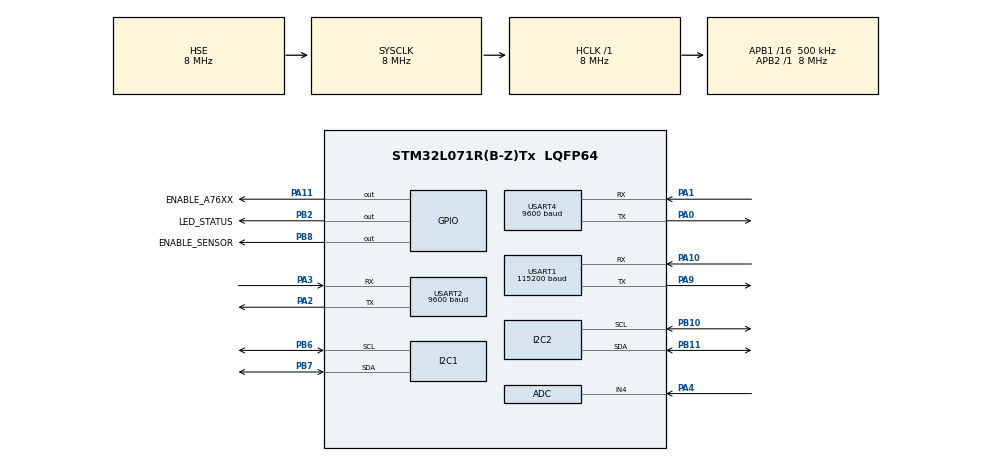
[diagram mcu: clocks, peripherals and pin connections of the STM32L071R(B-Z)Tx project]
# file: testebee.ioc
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ADC.ClockPrescaler=ADC_CLOCK_SYNC_PCLK_DIV4
ADC.ContinuousConvMode=ENABLE
I2C1.Timing=0x00000000
I2C2.Timing=0x00000000
Mcu.Family=STM32L0
Mcu.Name=STM32L071R(B-Z)Tx
Mcu.Package=LQFP64
NVIC.TIM6_IRQn=true\:2\:0\:true\:false\:true\:true\:true\:true
NVIC.USART1_IRQn=true\:1\:0\:true\:false\:true\:true\:true\:true
NVIC.USART2_IRQn=true\:1\:0\:true\:false\:true\:true\:true\:true
NVIC.USART4_5_IRQn=true\:1\:0\:true\:false\:true\:true\:true\:true
PA0.Mode=Asynchronous
PA0.Signal=USART4_TX
PA1.Mode=Asynchronous
PA1.Signal=USART4_RX
PA10.Mode=Asynchronous
PA10.Signal=USART1_RX
PA11.GPIO_Label=ENABLE_A76XX
PA11.Signal=GPIO_Output
PA13.Mode=Serial_Wire
PA13.Signal=SYS_SWDIO
PA14.Mode=Serial_Wire
PA14.Signal=SYS_SWCLK
PA2.Mode=Asynchronous
PA2.Signal=USART2_TX
PA3.Mode=Asynchronous
PA3.Signal=USART2_RX
PA4.Mode=IN4
PA4.Signal=ADC_IN4
PA9.Mode=Asynchronous
PA9.Signal=USART1_TX
PB10.Mode=I2C
PB10.Signal=I2C2_SCL
PB11.Mode=I2C
PB11.Signal=I2C2_SDA
PB2.GPIO_Label=LED_STATUS
PB2.Signal=GPIO_Output
PB6.Mode=I2C
PB6.Signal=I2C1_SCL
PB7.Mode=I2C
PB7.Signal=I2C1_SDA
PB8.GPIO_Label=ENABLE_SENSOR
PB8.Signal=GPIO_Output
PH0-OSC_IN.Mode=HSE-External-Oscillator
PH0-OSC_IN.Signal=RCC_OSC_IN
PH1-OSC_OUT.Mode=HSE-External-Oscillator
PH1-OSC_OUT.Signal=RCC_OSC_OUT
ProjectManager.HeapSize=0x200
ProjectManager.StackSize=0x400
ProjectManager.TargetToolchain=STM32CubeIDE
RCC.AHBFreq_Value=8000000
RCC.APB1CLKDivider=RCC_HCLK_DIV16
RCC.APB1Freq_Value=500000
RCC.APB1TimFreq_Value=1000000
RCC.APB2Freq_Value=8000000
RCC.APB2TimFreq_Value=8000000
RCC.HCLKFreq_Value=8000000
RCC.HSE_VALUE=8000000
RCC.HSI16_VALUE=16000000
RCC.HSI_VALUE=16000000
RCC.LSE_VALUE=32768
RCC.MSI_VALUE=2097000
RCC.PLLMUL=RCC_PLLMUL_8
RCC.PLLSourceVirtual=RCC_PLLSOURCE_HSE
RCC.SYSCLKFreq_VALUE=8000000
RCC.SYSCLKSource=RCC_SYSCLKSOURCE_HSE
RCC.VCOOutputFreq_Value=64000000
TIM6.Period=11999
TIM6.Prescaler=39000
USART1.BaudRate=115200
USART1.VirtualMode-Asynchronous=VM_ASYNC
USART2.BaudRate=9600
USART2.VirtualMode-Asynchronous=VM_ASYNC
USART4.BaudRate=9600
USART4.VirtualMode-Asynchronous=VM_ASYNC
VP_TIM6_VS_ClockSourceINT.Mode=Enable_Timer
board=custom

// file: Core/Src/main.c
/* USER CODE BEGIN Header */
/**
 ******************************************************************************
 * @file           : main.c
 * @brief          : Main program body
 ******************************************************************************
 * @attention
 *
 * Copyright (c) 2023 STMicroelectronics.
 * All rights reserved.
 *
 * This software is licensed under terms that can be found in the LICENSE file
 * in the root directory of this software component.
 * If no LICENSE file comes with this software, it is provided AS-IS.
 *
 ******************************************************************************
 */
/* USER CODE END Header */
#include "main.h"

/* USER CODE BEGIN Includes */
#include "stdbool.h"
#include "stdio.h"
#include "stdlib.h"
#include "string.h"
#include "config.h"
#include "modbus_crc.h"
#include "sht3x.h"
#include "cJSON.h"
#include <math.h>

/* USER CODE END Includes */

/* USER CODE BEGIN PD */
#define DS1307_I2C_ADDR 0x23
#define DS1307_TIMEOUT 300
/* USER CODE END PD */

/* USER CODE BEGIN PM */
#define BH1750_ADDRESS 0x23 << 1 // Shifted left by 1 for HAL library
#define BH1750_POWER_ON 0x01
#define BH1750_RESET 0x07
#define BH1750_CONTINUOUS_HIGH_RES_MODE 0x10

/* USER CODE END PM */

ADC_HandleTypeDef hadc;

I2C_HandleTypeDef hi2c1;
I2C_HandleTypeDef hi2c2;

TIM_HandleTypeDef htim6;

UART_HandleTypeDef huart1;
UART_HandleTypeDef huart2;
UART_HandleTypeDef huart4;

/* USER CODE BEGIN PV */
char rxBuffer[50];
int previousTick = 0;
int isConnectSimcomA76xx = 0;
int isConnectMQTT = 0;
int isSleepMode = 0;
int isSendDataToServer;
int timeOutConnectA76XX = 40000;
float SignalStrength;
int isPBDONE = 0;
float airT, airH, soilT, soilMC, soilEC;
float temperature, humidity;

float SignalStrength=0;
// BatteryLevel
uint32_t adcValue=0;
float  BatteryLevel=0;
float PercentageBattery=0;
uint32_t arrayBattery[10];
uint32_t temp;
uint8_t times=10;
//int time_Period=0;
int Filter_Baterry_Values();
int MediumBattery();

char AT_RESET[] = "AT+CRESET\r\n";
char AT_CHECK_A76XX[] = "AT\r\n";
char ATE0[] = "ATE0\r\n";
char AT_CHECK_ESIM[] = "AT+CGREG?\r\n";
char AT_SIGNAL_SIM[] = "AT+CSQ\r\n";
char AT_START_MQTT[] = "AT+CMQTTSTART\r\n";
char AT_ACQUIRE_CLIENT[] = "AT+CMQTTACCQ=0,\"%s\",0\r\n";
char AT_CONNECT_MQTT[] = "AT+CMQTTCONNECT=0,\"%s:%d\",60,1,\"%s\",\"%s\"\r\n";
char AT_SET_PUBLISH_TOPIC[] = "AT+CMQTTTOPIC=0,%d\r\n";
char AT_SET_PUBLISH_PAYLOAD[] = "AT+CMQTTPAYLOAD=0,%d\r\n";
char AT_PUBLISH[] = "AT+CMQTTPUB=0,1,60\r\n";
char AT_SUBCRIBE_TOPIC[] = "%s%d\r\n";
char AT_SUBCRIBE[] = "AT+CMQTTSUB=0\r\n";
char AT_COMMAND[300];
char BUFFER_TOPPIC_MQTT[300];
char BUFFER_DATA_PAYLOAD_MQTT[300];

#if co2
	unsigned char data_co2[9] = { 0xFF, 0x01, 0x86, 0x00, 0x00, 0x00, 0x00, 0x00, 0x79 };
	unsigned char data_vl53l1[3] = {0xA5,0x15,0xBA};
	uint8_t rx_co2[10];
	int carbonic;
#endif

#if rk520_01
	char rika502_01[8] = {0x01, 0x03, 0x00, 0x00, 0x00, 0x02, 0xC4, 0x0B};
	float soilTemperature = 0;
	float soilMoisture = 0;
	uint8_t respone_rk520_01= false;
#endif

#if rk520_02
//unsigned char rika520_02[10] = {0x01, 0x03, 0x00, 0x00, 0x00, 0x03, 0x05, 0xCB};
unsigned char rika520_02[10] =
		{ 0x02, 0x03, 0x00, 0x00, 0x00, 0x03, 0x05, 0xF8 };
float soilTemperature_rk520_02 = 0;
float soilMoisture_rk520_02 = 0;
float EC_rk520_02 = 0;
uint8_t respone_rk520_02 = false;
#endif
#if NBL_S_TMC_7
	float soilTemperature_niubol_7=0;
	float soilMoisture_niubol_7=0;
	float soil_Conductivity_niubol_7=0;
	float soil_pH_niubol_7=0;
	float soil_Nitrogen_niubol_7=0;
	float soil_Phospho_niubol_7=0;
	float soil_Kali_niubol_7=0;
	unsigned char niubol_7[10] = {0x01, 0x03, 0x00, 0x00, 0x00, 0x07, 0x04, 0x08};
	uint8_t respone_NBL_S_TMC_7= false;
#endif
#if rk500_02
float soilPH = 0;
//unsigned char rika500_02[8] = {0x01, 0x03, 0x00, 0x00, 0x00, 0x01, 0x84, 0x0A};
unsigned char rika500_02[8] = { 0x05, 0x03, 0x00, 0x00, 0x00, 0x01, 0x85, 0x8E };
uint8_t respone_rk500_02 = false;
#endif
#if nbl_s_npk
//unsigned char data_nbl_s_npk[8] = {0x01, 0x03, 0x00, 0x00, 0x00, 0x03, 0x05, 0xCB};
unsigned char data_nbl_s_npk[8] = { 0x03, 0x03, 0x00, 0x00, 0x00, 0x03, 0x04,
		0x29 };
uint8_t respone_nbl_s_npk = false;
#endif

#if bh1750
uint8_t address_bh1750 = 0x10;
float data_bh1750;
uint8_t rx_bh1750[5];
float lux;
uint8_t response_bh1750 = false;
#endif
uint8_t respone_sht30 = false;

uint16_t fertN, fertP, fertK;
char testjson[300];
int testpoint = 0;
int testvar = 0;
//rs485

uint8_t hostScanOrderData[8];
uint8_t sensorResponseData[20];
uint16_t testsrlen;
int rssi = -99;

sht3x_handle_t handle = { .i2c_handle = &hi2c1, .device_address =
SHT3X_I2C_DEVICE_ADDRESS_ADDR_PIN_LOW };
/* USER CODE END PV */

void SystemClock_Config(void);
static void MX_GPIO_Init(void);
static void MX_USART1_UART_Init(void);
static void MX_I2C1_Init(void);
static void MX_TIM6_Init(void);
static void MX_I2C2_Init(void);
static void MX_USART4_UART_Init(void);
static void MX_USART2_UART_Init(void);
static void MX_ADC_Init(void);
/* USER CODE BEGIN PFP */
void turnOnA76XX();
void readSensors(void);
int32_t Read_BH1750();

/* USER CODE END PFP */

/* USER CODE BEGIN 0 */
void sendData(uint8_t *data) {
	HAL_UART_Transmit(&huart4, data, 8, 2000);
}
void read_rk520_01(uint8_t *data) {
	HAL_UART_Transmit(&huart4, data, 8, 2000);
}
void read_rk520_02(uint8_t *data) {
	HAL_UART_Transmit(&huart4, data, 8, 2000);
}
void read_rk500_02(uint8_t *data) {
	HAL_UART_Transmit(&huart4, data, 8, 2000);
}
void read_niubol_7(uint8_t *data) {
	HAL_UART_Transmit(&huart4, data, 9, 2000);
}
void read_niubol_npk(uint8_t *data_npk) {
	HAL_UART_Transmit(&huart4, data_npk, 8, 2000);
}
void write_co2(uint8_t *data_co2) {
	HAL_UART_Transmit(&huart2, data_co2, 9, 1000);
}
void sendingToSimcomA76xx(char *cmd) {
	HAL_UART_Transmit(&huart1, (uint8_t*) cmd, strlen(cmd), 1000);
}
void HAL_UARTEx_RxEventCallback(UART_HandleTypeDef *huart, uint16_t Size) {
	if (huart->Instance == USART1) {
		HAL_UARTEx_ReceiveToIdle_IT(huart, (uint8_t*) rxBuffer, 50);
	}
	if (huart->Instance == USART4) {
#if rk520_01
						if(sensorResponseData[0]==1)
						{
							soilTemperature = (sensorResponseData[3]<<8 | sensorResponseData[4]);
							soilMoisture = (sensorResponseData[5]<<8 | sensorResponseData[6]);
							respone_rk520_01 = true;
						}
					#endif
#if rk520_02
				if (sensorResponseData[0] == 2) {
					soilTemperature_rk520_02 = (sensorResponseData[3] << 8
							| sensorResponseData[4]);
					soilMoisture_rk520_02 = (sensorResponseData[5] << 8
							| sensorResponseData[6]);
					EC_rk520_02 = (sensorResponseData[7] << 8 | sensorResponseData[8]);
					respone_rk520_02 = true;
				}
		#endif
#if NBL_S_TMC_7
						if(sensorResponseData[0]==1)
						{
							soilTemperature_niubol_7=(sensorResponseData[3]<<8 | sensorResponseData[4])*0.1;
							soilMoisture_niubol_7 = (sensorResponseData[5]<<8 | sensorResponseData[6])*0.1;
							soil_Conductivity_niubol_7=(sensorResponseData[7]<<8 | sensorResponseData[8]);
							soil_pH_niubol_7=(sensorResponseData[9]<<8 | sensorResponseData[10])*0.01;
							soil_Nitrogen_niubol_7=(sensorResponseData[11]<<8 | sensorResponseData[12]);
							soil_Phospho_niubol_7=(sensorResponseData[13]<<8 | sensorResponseData[14]);
							soil_Kali_niubol_7=(sensorResponseData[15]<<8 | sensorResponseData[16]);
							respone_NBL_S_TMC_7 = true;
						}
						//EC_rk520_02= (sensorResponseData[7]<<8 | sensorResponseData[8]);
					#endif
#if nbl_s_npk
		if (sensorResponseData[0] == 3) {
			fertN = (sensorResponseData[3] << 8 | sensorResponseData[4]);
			fertP = (sensorResponseData[5] << 8 | sensorResponseData[6]);
			fertK = (sensorResponseData[7] << 8 | sensorResponseData[8]);
			respone_nbl_s_npk = true;
		}

#endif
#if rk500_02
		if (sensorResponseData[0] == 5) {
			soilPH = (sensorResponseData[3] << 8 | sensorResponseData[4])
					/ 100.0;
			respone_rk500_02 = true;
		}
#endif
		HAL_UARTEx_ReceiveToIdle_IT(&huart4, (uint8_t*) sensorResponseData, 20);
	}
	if (huart->Instance == USART2) {
#if co2
		carbonic = (rx_co2[2] * 256 + rx_co2[3]);
		HAL_UARTEx_ReceiveToIdle_IT(&huart2, (uint8_t*) rx_co2, 8);
		#endif
	}
	//HAL_UARTEx_ReceiveToIdle_IT(huart, (uint8_t *) sensorResponseData, 9);
}

void turnOnA76XX(void) {
	HAL_GPIO_WritePin(ENABLE_A76XX_GPIO_Port, ENABLE_A76XX_Pin, RESET);
	HAL_Delay(3000);
	HAL_GPIO_WritePin(ENABLE_A76XX_GPIO_Port, ENABLE_A76XX_Pin, SET);
	HAL_Delay(3000);
	HAL_GPIO_WritePin(ENABLE_A76XX_GPIO_Port, ENABLE_A76XX_Pin, RESET);
	HAL_Delay(200);
	HAL_GPIO_WritePin(ENABLE_A76XX_GPIO_Port, ENABLE_A76XX_Pin, SET);
	HAL_Delay(1000);
}

int connectSimcomA76xx() {
	//HAL_TIM_Base_Stop_IT(&htim6);
	previousTick = HAL_GetTick();
	while ((isConnectSimcomA76xx == 0)
			&& (previousTick + timeOutConnectA76XX) > HAL_GetTick()) {
//	while(isConnectSimcomA76xx == 0){

		if (strstr((char*) rxBuffer, "PB DONE")) {
			HAL_Delay(1000);
			isPBDONE = 1;
		}
//		if (strstr((char*) rxBuffer, "PDN ACT 1")) {
//			HAL_Delay(5000);
//			isPBDONE = 1;
//		}
		if (isPBDONE == 1) {
			sendingToSimcomA76xx(ATE0);
			HAL_Delay(200);
			sendingToSimcomA76xx(AT_SIGNAL_SIM);
			HAL_Delay(1000);
			uint8_t SignalStrength1;
			SignalStrength = (rxBuffer[8] - 48) * 10 + (rxBuffer[9] - 48)
					+ (rxBuffer[11] - 48) * 0.1 + (rxBuffer[12] - 48) * 0.01;
			SignalStrength1 = (rxBuffer[8] - 48) * 10 + (rxBuffer[9] - 48);
			if(SignalStrength1>=31)
			{
				rssi=-51;
			}else rssi = SignalStrength1 * 2 - 113;
			isConnectSimcomA76xx = 1;
			HAL_Delay(1000);
		}
	}
	if (isConnectSimcomA76xx == 0) {
		NVIC_SystemReset();
	}
	return isConnectSimcomA76xx;
}
#if bh1750
int32_t Read_BH1750() {
	HAL_StatusTypeDef result;
	result = HAL_I2C_Master_Transmit(&hi2c2, DS1307_I2C_ADDR << 1,
			&address_bh1750, 1, 300);
	if (result == HAL_OK) {
		response_bh1750 = true;
	}
	HAL_Delay(200);
	HAL_I2C_Master_Receive(&hi2c2, DS1307_I2C_ADDR << 1, rx_bh1750, 2, 300);
	data_bh1750 = ((rx_bh1750[0] << 8) | rx_bh1750[1]) / 1.2;
	HAL_Delay(200);
	return data_bh1750;
}
#endif

void BH1750_Init(void) {
	uint8_t cmd = BH1750_POWER_ON;
	HAL_I2C_Master_Transmit(&hi2c2, BH1750_ADDRESS, &cmd, 1, HAL_MAX_DELAY);
	cmd = BH1750_RESET;
	HAL_I2C_Master_Transmit(&hi2c2, BH1750_ADDRESS, &cmd, 1, HAL_MAX_DELAY);
	cmd = BH1750_CONTINUOUS_HIGH_RES_MODE;
	HAL_I2C_Master_Transmit(&hi2c2, BH1750_ADDRESS, &cmd, 1, HAL_MAX_DELAY);
}
uint16_t BH1750_ReadLight(void) {
	uint8_t buf[2];
	HAL_I2C_Master_Receive(&hi2c2, BH1750_ADDRESS, buf, 2, HAL_MAX_DELAY);
	uint16_t lux = (buf[0] << 8) | buf[1];
	return lux / 1.2; // Convert to lux
}

void readSensors(void) {
	//rs485
	//lux = Read_BH1750();
	for (int i = 1; i <= 2; i++) {
#if sht30
		sht3x_read_temperature_and_humidity(&handle, &temperature, &humidity);
		//printf("Initial temperature: %.2fC, humidity: %.2f%%RH\n\r", temperature, humidity);
		// Enable heater for two seconds.
		sht3x_set_header_enable(&handle, true);
		HAL_Delay(1000);
		sht3x_set_header_enable(&handle, false);
		// Read temperature and humidity again.
		respone_sht30 = sht3x_read_temperature_and_humidity(&handle,
				&temperature, &humidity);
		HAL_Delay(1000);
#endif
#if bh1750
		lux = Read_BH1750();
		HAL_Delay(1000);
#endif
#if rk520_01
				read_rk520_01(rika502_01);
				HAL_Delay(1000);
				#endif
#if rk520_02
				read_rk520_02(rika520_02);
				HAL_Delay(1000);
		#endif
#if rk500_02
		read_rk500_02(rika500_02);
		HAL_Delay(1000);
#endif
#if NBL_S_TMC_7
				read_niubol_7(niubol_7);
				HAL_Delay(1000);
				#endif
#if nbl_s_npk
		read_niubol_npk(data_nbl_s_npk);
		HAL_Delay(1000);
#endif
#if co2
				write_co2(data_co2);
				HAL_Delay(1000);
		#endif
	}
	//HAL_GPIO_WritePin(LED_STATUS_GPIO_Port, LED_STATUS_Pin, GPIO_PIN_RESET);
	HAL_GPIO_WritePin(ENABLE_SENSOR_GPIO_Port, ENABLE_SENSOR_Pin, GPIO_PIN_RESET);
}

int connectMQTT(void) {
	//readSensors();
	sendingToSimcomA76xx(ATE0);
	HAL_Delay(200);
	sendingToSimcomA76xx(AT_START_MQTT);
	HAL_Delay(500);
	sprintf(AT_COMMAND, AT_ACQUIRE_CLIENT, MQTT_CLIENT_ID);
	sendingToSimcomA76xx(AT_COMMAND);
	HAL_Delay(500);
	sprintf(AT_COMMAND, AT_CONNECT_MQTT, MQTT_HOST, MQTT_PORT, MQTT_USER,
	MQTT_PASS);
	sendingToSimcomA76xx(AT_COMMAND);
	HAL_Delay(700);
	// Start Sensor
	sprintf(BUFFER_TOPPIC_MQTT, "%s/sn/%s", FARM, MQTT_CLIENT_ID);
	sprintf(AT_COMMAND, AT_SET_PUBLISH_TOPIC, (int) strlen(BUFFER_TOPPIC_MQTT));
	sendingToSimcomA76xx(AT_COMMAND);
	HAL_Delay(500);
	sendingToSimcomA76xx(BUFFER_TOPPIC_MQTT);
	HAL_Delay(500);
	// test json
	sprintf(BUFFER_TOPPIC_MQTT, "%s/sn/%s", FARM, MQTT_CLIENT_ID);
	sprintf(AT_COMMAND, AT_SET_PUBLISH_TOPIC, (int) strlen(BUFFER_TOPPIC_MQTT));
	sendingToSimcomA76xx(AT_COMMAND);
	HAL_Delay(500);
	sendingToSimcomA76xx(BUFFER_TOPPIC_MQTT);
	HAL_Delay(500);
	sprintf(AT_COMMAND, AT_SET_PUBLISH_PAYLOAD, (int) strlen(testjson));
	sendingToSimcomA76xx(AT_COMMAND);
	HAL_Delay(500);
	sendingToSimcomA76xx(testjson);
	HAL_Delay(500);
	sendingToSimcomA76xx(AT_PUBLISH);
	HAL_Delay(500);

	isConnectMQTT = 1;
	return isConnectMQTT;
}

int Sleep_Stm32_A7672S() {
	//Sleep Simcom A7672S

	HAL_GPIO_WritePin(ENABLE_A76XX_GPIO_Port, ENABLE_A76XX_Pin, GPIO_PIN_RESET);
	HAL_Delay(5000);
	//sendingToSimcomA76xx("AT+CPOF");
	HAL_GPIO_WritePin(ENABLE_A76XX_GPIO_Port, ENABLE_A76XX_Pin, GPIO_PIN_SET);
	HAL_Delay(6000);
	//CLose sensor
	HAL_GPIO_WritePin(LED_STATUS_GPIO_Port, LED_STATUS_Pin, GPIO_PIN_RESET);
	HAL_TIM_Base_Start_IT(&htim6);
	HAL_SuspendTick();
	HAL_PWR_EnterSLEEPMode(PWR_MAINREGULATOR_ON, PWR_SLEEPENTRY_WFE);
	HAL_ResumeTick();
	NVIC_SystemReset();
	isSleepMode = 1;

	return isSleepMode;
}
int Filter_Baterry_Values(){
	for(int i=0;i<times;i++)
	{
		HAL_ADC_Start(&hadc);
		HAL_ADC_PollForConversion(&hadc,HAL_MAX_DELAY);
		HAL_Delay(100);
		arrayBattery[i]=HAL_ADC_GetValue(&hadc);
	}
	adcValue=MediumBattery();
	BatteryLevel=((adcValue/4095.0)*3.3);
	PercentageBattery=((BatteryLevel-2.5)/0.5)*100;
	if(PercentageBattery>100)
	{
		PercentageBattery=100;
	}
	HAL_ADC_Stop(&hadc);
	return PercentageBattery ;
}
int MediumBattery(){
	for(int i=0; i<times-1; i++)
	{
		for(int j=i+1;j<times;j++)
		{
			if(arrayBattery[i]>arrayBattery[j])
			{

			  temp=arrayBattery[i];

			  arrayBattery[i]=arrayBattery[j];

			  arrayBattery[j]=temp;

			}
		}
	}
	return arrayBattery[times/2];
}
void exampleFunction(void) {
	// Các biến cần được ghép vào JSON
//    const char *name = "John Doe";
//    int age = 30;
//    double score = 85.5;
//    const char *hobbies[] = {"reading", "swimming", "coding"};
//    int hobbies_count = sizeof(hobbies) / sizeof(hobbies[0]);
	// Tạo một đối tượng JSON
	cJSON *json = cJSON_CreateObject();
	// Thêm các giá trị vào đối tượng JSON
#if sht30
	if (respone_sht30 == true) {
		airT = (temperature * 100) / 100;
		airH = (humidity * 100) / 100;
		cJSON_AddNumberToObject(json, "airT", airT);
		cJSON_AddNumberToObject(json, "airRH", airH);
	}
#endif
#if rk520_01
	    if(respone_rk520_01==true)
	    {
			soilT = soilTemperature*0.1;
			soilMC = soilMoisture*0.1;
		    cJSON_AddNumberToObject(json, "soilT", soilT);
		    cJSON_AddNumberToObject(json, "soilMC", soilMC);
		    respone_rk520_01 = false;
	    }

	#endif
#if rk520_02
	if (respone_rk520_02 == true) {
		soilMC = soilMoisture_rk520_02 * 0.1;
		soilT = soilTemperature_rk520_02 * 0.1;
		soilEC = EC_rk520_02;
		cJSON_AddNumberToObject(json, "soilT", soilT);
		cJSON_AddNumberToObject(json, "soilMC", soilMC);
		cJSON_AddNumberToObject(json, "soilEC", soilEC);
		respone_rk520_02 = false;
	}

#endif
#if rk500_02
	if (respone_rk500_02 == true) {
		cJSON_AddNumberToObject(json, "soilPH", soilPH);
		respone_rk500_02 = false;
	}

#endif
#if nbl_s_npk
	if (respone_nbl_s_npk == true) {
		cJSON_AddNumberToObject(json, "fertN", fertN);
		cJSON_AddNumberToObject(json, "fertP", fertP);
		cJSON_AddNumberToObject(json, "fertK", fertK);
		respone_nbl_s_npk = false;
	}

#endif
#if NBL_S_TMC_7
	if (respone_NBL_S_TMC_7 == true) {
	    cJSON_AddNumberToObject(json, "soilT", soilTemperature_niubol_7);
	    cJSON_AddNumberToObject(json, "soilMC", soilMoisture_niubol_7);
		cJSON_AddNumberToObject(json, "soilEC", soil_Conductivity_niubol_7);
		cJSON_AddNumberToObject(json, "soilPH", soil_pH_niubol_7);
		cJSON_AddNumberToObject(json, "fertN", soil_Nitrogen_niubol_7);
		cJSON_AddNumberToObject(json, "fertP", soil_Phospho_niubol_7);
		cJSON_AddNumberToObject(json, "fertK", soil_Kali_niubol_7);
		respone_NBL_S_TMC_7 = false;
	}

#endif
#if bh1750
	if (response_bh1750) {
		cJSON_AddNumberToObject(json, "Light", lux);
	}
#endif
#if co2
	cJSON_AddNumberToObject(json, "Carbonic", carbonic);
#endif
	cJSON_AddNumberToObject(json, "_gsm_signal_strength", rssi);
	cJSON_AddNumberToObject(json, "_battery_level", PercentageBattery);
	// Tạo một mảng JSON cho các sở thích
//    cJSON *json_hobbies = cJSON_CreateArray();
//    for (int i = 0; i < hobbies_count; i++) {
//        cJSON_AddItemToArray(json_hobbies, cJSON_CreateString(hobbies[i]));
//    }
//    cJSON_AddItemToObject(json, "hobbies", json_hobbies);

	// Chuyển đổi đối tượng JSON thành chuỗi
	char *json_string = cJSON_Print(json);
	if (json_string == NULL) {
		printf("Lỗi tạo chuỗi JSON\n");
		cJSON_Delete(json);
		return;
	}

	// In chuỗi JSON
	printf("%s\n", json_string);
	sprintf(testjson, "%s", json_string);

	// Giải phóng bộ nhớ
	free(json_string);
	cJSON_Delete(json);
}
/* USER CODE END 0 */

int main(void)
{

  /* MCU Configuration--------------------------------------------------------*/

  /* Reset of all peripherals, Initializes the Flash interface and the Systick. */
  HAL_Init();

  /* Configure the system clock */
  SystemClock_Config();

  /* Initialize all configured peripherals */
  MX_GPIO_Init();
  MX_USART1_UART_Init();
  MX_I2C1_Init();
  MX_TIM6_Init();
  MX_I2C2_Init();
  MX_USART4_UART_Init();
  MX_USART2_UART_Init();
  MX_ADC_Init();
  /* USER CODE BEGIN 2 */

	HAL_UARTEx_ReceiveToIdle_IT(&huart1, (uint8_t*) rxBuffer, 50);
	HAL_UARTEx_ReceiveToIdle_IT(&huart4, (uint8_t*) sensorResponseData, 20);
#if co2
		HAL_UARTEx_ReceiveToIdle_IT(&huart2, (uint8_t*) rx_co2, 8);
	#endif

	HAL_GPIO_WritePin(ENABLE_SENSOR_GPIO_Port, ENABLE_SENSOR_Pin, SET);
	turnOnA76XX();
	BH1750_Init();
#if sht30
	if (!sht3x_init(&handle)) {
		printf("SHT3x access failed.\n\r");
	}
#endif

	//HAL_TIM_Base_Start_IT(&htim6);
  /* USER CODE END 2 */

  /* Infinite loop */
  /* USER CODE BEGIN WHILE */
	while (1)
	{
		if (!isConnectSimcomA76xx) {
			isConnectSimcomA76xx = connectSimcomA76xx();
		}
		readSensors();
		Filter_Baterry_Values();
		exampleFunction();
		if (!isConnectMQTT) {
			isConnectMQTT = connectMQTT();
		}
		if (!isSleepMode) {
			isSleepMode = Sleep_Stm32_A7672S();
		}

    /* USER CODE END WHILE */

	}
}

void SystemClock_Config(void)
{
  RCC_OscInitTypeDef RCC_OscInitStruct = {0};
  RCC_ClkInitTypeDef RCC_ClkInitStruct = {0};
  RCC_PeriphCLKInitTypeDef PeriphClkInit = {0};

  /** Configure the main internal regulator output voltage
  */
  __HAL_PWR_VOLTAGESCALING_CONFIG(PWR_REGULATOR_VOLTAGE_SCALE1);

  /** Initializes the RCC Oscillators according to the specified parameters
  * in the RCC_OscInitTypeDef structure.
  */
  RCC_OscInitStruct.OscillatorType = RCC_OSCILLATORTYPE_HSE;
  RCC_OscInitStruct.HSEState = RCC_HSE_ON;
  RCC_OscInitStruct.PLL.PLLState = RCC_PLL_NONE;
  if (HAL_RCC_OscConfig(&RCC_OscInitStruct) != HAL_OK)
  {
    Error_Handler();
  }

  /** Initializes the CPU, AHB and APB buses clocks
  */
  RCC_ClkInitStruct.ClockType = RCC_CLOCKTYPE_HCLK|RCC_CLOCKTYPE_SYSCLK
                              |RCC_CLOCKTYPE_PCLK1|RCC_CLOCKTYPE_PCLK2;
  RCC_ClkInitStruct.SYSCLKSource = RCC_SYSCLKSOURCE_HSE;
  RCC_ClkInitStruct.AHBCLKDivider = RCC_SYSCLK_DIV1;
  RCC_ClkInitStruct.APB1CLKDivider = RCC_HCLK_DIV16;
  RCC_ClkInitStruct.APB2CLKDivider = RCC_HCLK_DIV1;

  if (HAL_RCC_ClockConfig(&RCC_ClkInitStruct, FLASH_LATENCY_0) != HAL_OK)
  {
    Error_Handler();
  }
  PeriphClkInit.PeriphClockSelection = RCC_PERIPHCLK_USART1|RCC_PERIPHCLK_USART2
                              |RCC_PERIPHCLK_I2C1;
  PeriphClkInit.Usart1ClockSelection = RCC_USART1CLKSOURCE_PCLK2;
  PeriphClkInit.Usart2ClockSelection = RCC_USART2CLKSOURCE_PCLK1;
  PeriphClkInit.I2c1ClockSelection = RCC_I2C1CLKSOURCE_PCLK1;
  if (HAL_RCCEx_PeriphCLKConfig(&PeriphClkInit) != HAL_OK)
  {
    Error_Handler();
  }
}

static void MX_ADC_Init(void)
{

  ADC_ChannelConfTypeDef sConfig = {0};

  /** Configure the global features of the ADC (Clock, Resolution, Data Alignment and number of conversion)
  */
  hadc.Instance = ADC1;
  hadc.Init.OversamplingMode = DISABLE;
  hadc.Init.ClockPrescaler = ADC_CLOCK_SYNC_PCLK_DIV4;
  hadc.Init.Resolution = ADC_RESOLUTION_12B;
  hadc.Init.SamplingTime = ADC_SAMPLETIME_1CYCLE_5;
  hadc.Init.ScanConvMode = ADC_SCAN_DIRECTION_FORWARD;
  hadc.Init.DataAlign = ADC_DATAALIGN_RIGHT;
  hadc.Init.ContinuousConvMode = ENABLE;
  hadc.Init.DiscontinuousConvMode = DISABLE;
  hadc.Init.ExternalTrigConvEdge = ADC_EXTERNALTRIGCONVEDGE_NONE;
  hadc.Init.ExternalTrigConv = ADC_SOFTWARE_START;
  hadc.Init.DMAContinuousRequests = DISABLE;
  hadc.Init.EOCSelection = ADC_EOC_SINGLE_CONV;
  hadc.Init.Overrun = ADC_OVR_DATA_PRESERVED;
  hadc.Init.LowPowerAutoWait = DISABLE;
  hadc.Init.LowPowerFrequencyMode = ENABLE;
  hadc.Init.LowPowerAutoPowerOff = DISABLE;
  if (HAL_ADC_Init(&hadc) != HAL_OK)
  {
    Error_Handler();
  }

  /** Configure for the selected ADC regular channel to be converted.
  */
  sConfig.Channel = ADC_CHANNEL_4;
  sConfig.Rank = ADC_RANK_CHANNEL_NUMBER;
  if (HAL_ADC_ConfigChannel(&hadc, &sConfig) != HAL_OK)
  {
    Error_Handler();
  }

}

static void MX_I2C1_Init(void)
{

  hi2c1.Instance = I2C1;
  hi2c1.Init.Timing = 0x00000000;
  hi2c1.Init.OwnAddress1 = 0;
  hi2c1.Init.AddressingMode = I2C_ADDRESSINGMODE_7BIT;
  hi2c1.Init.DualAddressMode = I2C_DUALADDRESS_DISABLE;
  hi2c1.Init.OwnAddress2 = 0;
  hi2c1.Init.OwnAddress2Masks = I2C_OA2_NOMASK;
  hi2c1.Init.GeneralCallMode = I2C_GENERALCALL_DISABLE;
  hi2c1.Init.NoStretchMode = I2C_NOSTRETCH_DISABLE;
  if (HAL_I2C_Init(&hi2c1) != HAL_OK)
  {
    Error_Handler();
  }

  /** Configure Analogue filter
  */
  if (HAL_I2CEx_ConfigAnalogFilter(&hi2c1, I2C_ANALOGFILTER_ENABLE) != HAL_OK)
  {
    Error_Handler();
  }

  /** Configure Digital filter
  */
  if (HAL_I2CEx_ConfigDigitalFilter(&hi2c1, 0) != HAL_OK)
  {
    Error_Handler();
  }

}

static void MX_I2C2_Init(void)
{

  hi2c2.Instance = I2C2;
  hi2c2.Init.Timing = 0x00000000;
  hi2c2.Init.OwnAddress1 = 0;
  hi2c2.Init.AddressingMode = I2C_ADDRESSINGMODE_7BIT;
  hi2c2.Init.DualAddressMode = I2C_DUALADDRESS_DISABLE;
  hi2c2.Init.OwnAddress2 = 0;
  hi2c2.Init.OwnAddress2Masks = I2C_OA2_NOMASK;
  hi2c2.Init.GeneralCallMode = I2C_GENERALCALL_DISABLE;
  hi2c2.Init.NoStretchMode = I2C_NOSTRETCH_DISABLE;
  if (HAL_I2C_Init(&hi2c2) != HAL_OK)
  {
    Error_Handler();
  }

  /** Configure Analogue filter
  */
  if (HAL_I2CEx_ConfigAnalogFilter(&hi2c2, I2C_ANALOGFILTER_ENABLE) != HAL_OK)
  {
    Error_Handler();
  }

  /** Configure Digital filter
  */
  if (HAL_I2CEx_ConfigDigitalFilter(&hi2c2, 0) != HAL_OK)
  {
    Error_Handler();
  }

}

static void MX_TIM6_Init(void)
{

  TIM_MasterConfigTypeDef sMasterConfig = {0};

  htim6.Instance = TIM6;
  htim6.Init.Prescaler = 59999;
  htim6.Init.CounterMode = TIM_COUNTERMODE_UP;
  htim6.Init.Period = TIME_PERIOD;
  htim6.Init.AutoReloadPreload = TIM_AUTORELOAD_PRELOAD_DISABLE;
  if (HAL_TIM_Base_Init(&htim6) != HAL_OK)
  {
    Error_Handler();
  }
  sMasterConfig.MasterOutputTrigger = TIM_TRGO_RESET;
  sMasterConfig.MasterSlaveMode = TIM_MASTERSLAVEMODE_DISABLE;
  if (HAL_TIMEx_MasterConfigSynchronization(&htim6, &sMasterConfig) != HAL_OK)
  {
    Error_Handler();
  }

}

static void MX_USART1_UART_Init(void)
{

  huart1.Instance = USART1;
  huart1.Init.BaudRate = 115200;
  huart1.Init.WordLength = UART_WORDLENGTH_8B;
  huart1.Init.StopBits = UART_STOPBITS_1;
  huart1.Init.Parity = UART_PARITY_NONE;
  huart1.Init.Mode = UART_MODE_TX_RX;
  huart1.Init.HwFlowCtl = UART_HWCONTROL_NONE;
  huart1.Init.OverSampling = UART_OVERSAMPLING_16;
  huart1.Init.OneBitSampling = UART_ONE_BIT_SAMPLE_DISABLE;
  huart1.AdvancedInit.AdvFeatureInit = UART_ADVFEATURE_NO_INIT;
  if (HAL_UART_Init(&huart1) != HAL_OK)
  {
    Error_Handler();
  }

}

static void MX_USART2_UART_Init(void)
{

  huart2.Instance = USART2;
  huart2.Init.BaudRate = 9600;
  huart2.Init.WordLength = UART_WORDLENGTH_8B;
  huart2.Init.StopBits = UART_STOPBITS_1;
  huart2.Init.Parity = UART_PARITY_NONE;
  huart2.Init.Mode = UART_MODE_TX_RX;
  huart2.Init.HwFlowCtl = UART_HWCONTROL_NONE;
  huart2.Init.OverSampling = UART_OVERSAMPLING_16;
  huart2.Init.OneBitSampling = UART_ONE_BIT_SAMPLE_DISABLE;
  huart2.AdvancedInit.AdvFeatureInit = UART_ADVFEATURE_NO_INIT;
  if (HAL_UART_Init(&huart2) != HAL_OK)
  {
    Error_Handler();
  }

}

static void MX_USART4_UART_Init(void)
{

  huart4.Instance = USART4;
  huart4.Init.BaudRate = 9600;
  huart4.Init.WordLength = UART_WORDLENGTH_8B;
  huart4.Init.StopBits = UART_STOPBITS_1;
  huart4.Init.Parity = UART_PARITY_NONE;
  huart4.Init.Mode = UART_MODE_TX_RX;
  huart4.Init.HwFlowCtl = UART_HWCONTROL_NONE;
  huart4.Init.OverSampling = UART_OVERSAMPLING_16;
  huart4.Init.OneBitSampling = UART_ONE_BIT_SAMPLE_DISABLE;
  huart4.AdvancedInit.AdvFeatureInit = UART_ADVFEATURE_NO_INIT;
  if (HAL_UART_Init(&huart4) != HAL_OK)
  {
    Error_Handler();
  }

}

static void MX_GPIO_Init(void)
{
  GPIO_InitTypeDef GPIO_InitStruct = {0};

  /* GPIO Ports Clock Enable */
  __HAL_RCC_GPIOH_CLK_ENABLE();
  __HAL_RCC_GPIOA_CLK_ENABLE();
  __HAL_RCC_GPIOB_CLK_ENABLE();

  /*Configure GPIO pin Output Level */
  HAL_GPIO_WritePin(GPIOB, LED_STATUS_Pin|ENABLE_SENSOR_Pin, GPIO_PIN_RESET);

  /*Configure GPIO pin Output Level */
  HAL_GPIO_WritePin(ENABLE_A76XX_GPIO_Port, ENABLE_A76XX_Pin, GPIO_PIN_RESET);

  /*Configure GPIO pins : LED_STATUS_Pin ENABLE_SENSOR_Pin */
  GPIO_InitStruct.Pin = LED_STATUS_Pin|ENABLE_SENSOR_Pin;
  GPIO_InitStruct.Mode = GPIO_MODE_OUTPUT_PP;
  GPIO_InitStruct.Pull = GPIO_NOPULL;
  GPIO_InitStruct.Speed = GPIO_SPEED_FREQ_LOW;
  HAL_GPIO_Init(GPIOB, &GPIO_InitStruct);

  /*Configure GPIO pin : ENABLE_A76XX_Pin */
  GPIO_InitStruct.Pin = ENABLE_A76XX_Pin;
  GPIO_InitStruct.Mode = GPIO_MODE_OUTPUT_PP;
  GPIO_InitStruct.Pull = GPIO_NOPULL;
  GPIO_InitStruct.Speed = GPIO_SPEED_FREQ_LOW;
  HAL_GPIO_Init(ENABLE_A76XX_GPIO_Port, &GPIO_InitStruct);

}

void Error_Handler(void)
{
	__disable_irq();
	while (1) {
	}
}
